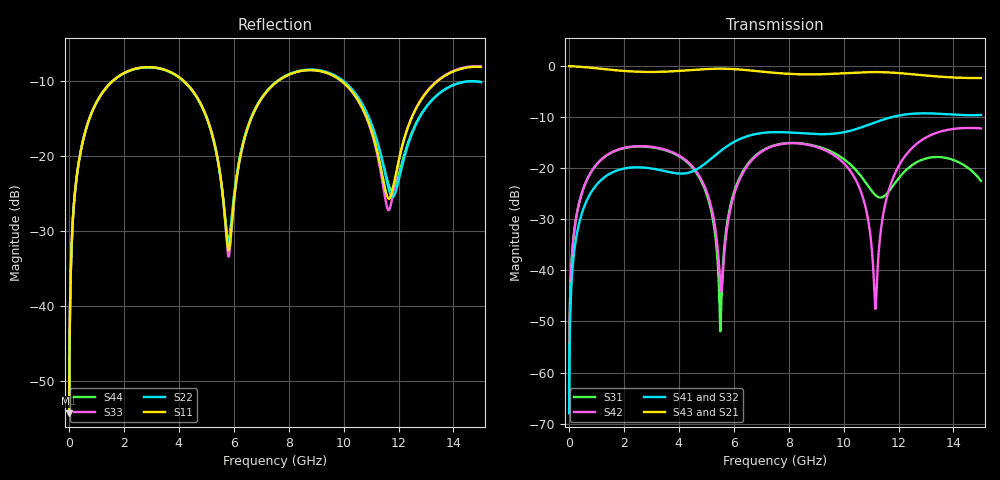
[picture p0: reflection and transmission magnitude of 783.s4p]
! Created with skrf 1.8.0 (http://scikit-rf.org).
# GHz S RI R 50.0
!freq ReS11 ImS11 ReS12 ImS12 ReS13 ImS13
! ReS14 ImS14
! ReS21 ImS21 ReS22 ImS22 ReS23 ImS23
! ReS24 ImS24
! ReS31 ImS31 ReS32 ImS32 ReS33 ImS33
! ReS34 ImS34
! ReS41 ImS41 ReS42 ImS42 ReS43 ImS43
! ReS44 ImS44
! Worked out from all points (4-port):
!   2499 points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, 5 MHz to 15 GHz, reference 50 ohm
!   strongest paths, dB at 5 MHz, 3.476 GHz, 7.19 GHz, 11.1 GHz, 15 GHz:
!     S43: 0.0, -1.1, -1.2, -1.2, -2.3
!     S21: 0.0, -1.1, -1.2, -1.2, -2.3
!     S41: -68.0, -20.6, -13.0, -11.1, -9.6
!     S32: -68.0, -20.6, -13.0, -11.1, -9.6
!     S42: -63.9, -16.3, -16.2, -41.4, -12.2
!     S31: -63.9, -16.4, -16.1, -24.9, -22.5
!   lowest |S11| = -54.3 dB at 5 MHz (marker M1), VSWR 1.00, Z = 50.2 + j0.117 ohm
!   |S11| at or under -10 dB: start of sweep to 1.594 GHz; 4.176 GHz to 7.611 GHz (3.435 GHz wide, 58.3 % of centre); 9.923 GHz to 13.43 GHz (3.509 GHz wide, 30 % of centre)
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0.005  0.00154 0.00117  0.9984 -0.003  7.78e-05 0.00063  -7.55e-05 -0.000392
       0.9984 -0.003  0.00154 0.00117  -7.55e-05 -0.000392  7.78e-05 0.00063
       7.78e-05 0.00063  -7.55e-05 -0.000392  0.00154 0.00117  0.9984 -0.003
       -7.55e-05 -0.000392  7.78e-05 0.00063  0.9984 -0.003  0.00154 0.00117
0.3626511  0.0272 0.0882  0.9625 -0.2154  0.0131 0.043  -0.0109 -0.0263
           0.9625 -0.2154  0.0272 0.0882  -0.0109 -0.0263  0.0133 0.0429
           0.0131 0.043  -0.0109 -0.0263  0.0272 0.0882  0.9625 -0.2154
           -0.0109 -0.0263  0.0133 0.0429  0.9625 -0.2154  0.0272 0.0882
1.67  0.2731 0.1759  0.5419 -0.7339  0.1325 0.0645  -0.0932 -0.00456
      0.5419 -0.7339  0.2724 0.1765  -0.093 -0.00482  0.1346 0.0616
      0.1325 0.0645  -0.093 -0.00482  0.2732 0.1758  0.5419 -0.7338
      -0.0932 -0.00456  0.1346 0.0616  0.5419 -0.7338  0.2723 0.1766
5.514798  0.0335 -0.0655  -0.9143 -0.2309  0.00254 3.37e-05  -0.0293 0.1442
          -0.9143 -0.2309  0.0354 -0.0634  -0.0334 0.1432  -0.00633 -0.00325
          0.00254 3.37e-05  -0.0334 0.1432  0.0315 -0.0659  -0.9143 -0.231
          -0.0293 0.1442  -0.00633 -0.00325  -0.9143 -0.231  0.0373 -0.0628
9.091288  0.3669 -0.0454  0.0255 0.8299  0.1302 -0.0965  0.203 -0.0735
          0.0255 0.8299  0.3706 -0.0439  0.2034 -0.0642  0.1326 -0.0879
          0.1302 -0.0965  0.2034 -0.0642  0.3668 -0.0467  0.0252 0.8305
          0.203 -0.0735  0.1326 -0.0879  0.0252 0.8305  0.3681 -0.0422
11.1609  0.0785 -0.0904  0.7864 0.3806  -0.0509 -0.0197  0.1085 -0.2601
         0.7864 0.3806  0.0859 -0.107  0.1229 -0.2536  0.00412 -0.000752
         -0.0509 -0.0197  0.1229 -0.2536  0.0711 -0.0908  0.7868 0.3806
         0.1085 -0.2601  0.00412 -0.000752  0.7868 0.3806  0.0902 -0.1025
15  0.3894 -0.0416  0.0172 -0.7641  0.0642 -0.0393  -0.3295 0.0409
    0.0172 -0.7641  0.3105 -0.000891  -0.3297 0.0166  0.0789 -0.2326
    0.0642 -0.0393  -0.3297 0.0166  0.3935 -0.0378  0.0187 -0.7631
    -0.3295 0.0409  0.0789 -0.2326  0.0187 -0.7631  0.3115 0.00271
